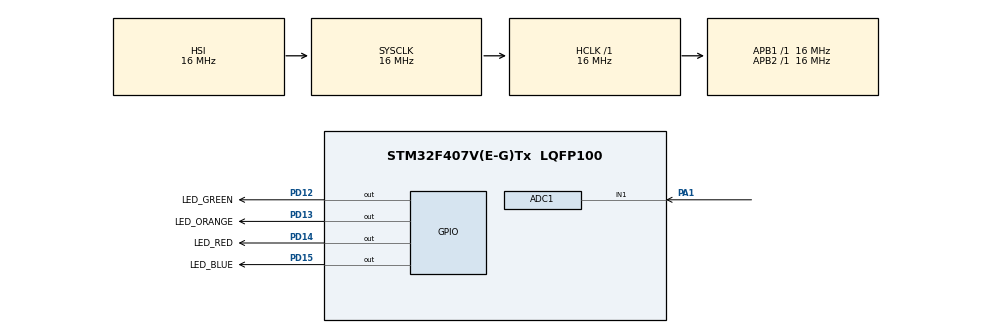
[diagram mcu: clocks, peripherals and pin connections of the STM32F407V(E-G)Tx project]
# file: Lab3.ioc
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ADC1.Channel-0\#ChannelRegularConversion=ADC_CHANNEL_TEMPSENSOR
ADC1.ClockPrescaler=ADC_CLOCK_SYNC_PCLK_DIV8
ADC1.NbrOfConversionFlag=1
ADC1.Rank-0\#ChannelRegularConversion=1
ADC1.SamplingTime-0\#ChannelRegularConversion=ADC_SAMPLETIME_480CYCLES
ADC1.master=1
Mcu.Family=STM32F4
Mcu.Name=STM32F407V(E-G)Tx
Mcu.Package=LQFP100
NVIC.ADC_IRQn=true\:0\:0\:false\:false\:true\:true\:true\:true
NVIC.PriorityGroup=NVIC_PRIORITYGROUP_4
PA1.Signal=ADCx_IN1
PD12.GPIO_Label=LED_GREEN
PD12.Signal=GPIO_Output
PD13.GPIO_Label=LED_ORANGE
PD13.Signal=GPIO_Output
PD14.GPIO_Label=LED_RED
PD14.Signal=GPIO_Output
PD15.GPIO_Label=LED_BLUE
PD15.Signal=GPIO_Output
ProjectManager.HeapSize=0x200
ProjectManager.StackSize=0x400
ProjectManager.TargetToolchain=STM32CubeIDE
RCC.AHBFreq_Value=16000000
RCC.APB1Freq_Value=16000000
RCC.APB2Freq_Value=16000000
RCC.CortexFreq_Value=16000000
RCC.HSE_VALUE=25000000
RCC.HSI_VALUE=16000000
RCC.LSE_VALUE=32768
RCC.SYSCLKFreq_VALUE=16000000
RCC.VCOOutputFreq_Value=192000000
SH.ADCx_IN1.0=ADC1_IN1,IN1
VP_ADC1_TempSens_Input.Mode=IN-TempSens
board=custom

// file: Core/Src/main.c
/* USER CODE BEGIN Header */
/**
  ******************************************************************************
  * @file           : main.c
  * @brief          : Main program body
  ******************************************************************************
  * @attention
  *
  * Copyright (c) 2023 STMicroelectronics.
  * All rights reserved.
  *
  * This software is licensed under terms that can be found in the LICENSE file
  * in the root directory of this software component.
  * If no LICENSE file comes with this software, it is provided AS-IS.
  *
  ******************************************************************************
  */
/* USER CODE END Header */
#include "main.h"

/* USER CODE BEGIN Includes */
#include <math.h>
/* USER CODE END Includes */

/* USER CODE BEGIN PD */
#define max_adc_counter_value 60
#define vcc 3.3
#define adc_bit_mode 12
/* USER CODE END PD */

ADC_HandleTypeDef hadc1;

/* USER CODE BEGIN PV */
int adc_counter = 0;
double adc_sum = 0;
uint32_t adc_avg = 0;
double adc_voltage = 0;
/* USER CODE END PV */

void SystemClock_Config(void);
static void MX_GPIO_Init(void);
static void MX_ADC1_Init(void);
/* USER CODE BEGIN PFP */

void HAL_ADC_ConvCpltCallback(ADC_HandleTypeDef* hadc)
{
	uint32_t adcValue;

	if(hadc->Instance == ADC1)
	{
		adcValue = HAL_ADC_GetValue(&hadc1);
		adc_counter++;
		adc_sum += adcValue;
		if (adc_counter==max_adc_counter_value){
			adc_avg = round(adc_sum/max_adc_counter_value);
			adc_voltage = vcc/(1<<adc_bit_mode)*adc_avg;
			adc_counter = 0;
			adc_sum = 0;
		}

		HAL_ADC_Start_IT(&hadc1);
	}
}
/* USER CODE END PFP */

int main(void)
{

  /* MCU Configuration--------------------------------------------------------*/

  /* Reset of all peripherals, Initializes the Flash interface and the Systick. */
  HAL_Init();

  /* Configure the system clock */
  SystemClock_Config();

  /* Initialize all configured peripherals */
  MX_GPIO_Init();
  MX_ADC1_Init();
  /* USER CODE BEGIN 2 */

HAL_ADC_Start_IT(&hadc1);

  /* USER CODE END 2 */

  /* Infinite loop */
  while (1)
  {

  }
}

void SystemClock_Config(void)
{
  RCC_OscInitTypeDef RCC_OscInitStruct = {0};
  RCC_ClkInitTypeDef RCC_ClkInitStruct = {0};

  /** Configure the main internal regulator output voltage
  */
  __HAL_RCC_PWR_CLK_ENABLE();
  __HAL_PWR_VOLTAGESCALING_CONFIG(PWR_REGULATOR_VOLTAGE_SCALE1);

  /** Initializes the RCC Oscillators according to the specified parameters
  * in the RCC_OscInitTypeDef structure.
  */
  RCC_OscInitStruct.OscillatorType = RCC_OSCILLATORTYPE_HSI;
  RCC_OscInitStruct.HSIState = RCC_HSI_ON;
  RCC_OscInitStruct.HSICalibrationValue = RCC_HSICALIBRATION_DEFAULT;
  RCC_OscInitStruct.PLL.PLLState = RCC_PLL_NONE;
  if (HAL_RCC_OscConfig(&RCC_OscInitStruct) != HAL_OK)
  {
    Error_Handler();
  }

  /** Initializes the CPU, AHB and APB buses clocks
  */
  RCC_ClkInitStruct.ClockType = RCC_CLOCKTYPE_HCLK|RCC_CLOCKTYPE_SYSCLK
                              |RCC_CLOCKTYPE_PCLK1|RCC_CLOCKTYPE_PCLK2;
  RCC_ClkInitStruct.SYSCLKSource = RCC_SYSCLKSOURCE_HSI;
  RCC_ClkInitStruct.AHBCLKDivider = RCC_SYSCLK_DIV1;
  RCC_ClkInitStruct.APB1CLKDivider = RCC_HCLK_DIV1;
  RCC_ClkInitStruct.APB2CLKDivider = RCC_HCLK_DIV1;

  if (HAL_RCC_ClockConfig(&RCC_ClkInitStruct, FLASH_LATENCY_0) != HAL_OK)
  {
    Error_Handler();
  }
}

static void MX_ADC1_Init(void)
{

  ADC_ChannelConfTypeDef sConfig = {0};

  /** Configure the global features of the ADC (Clock, Resolution, Data Alignment and number of conversion)
  */
  hadc1.Instance = ADC1;
  hadc1.Init.ClockPrescaler = ADC_CLOCK_SYNC_PCLK_DIV8;
  hadc1.Init.Resolution = ADC_RESOLUTION_12B;
  hadc1.Init.ScanConvMode = DISABLE;
  hadc1.Init.ContinuousConvMode = DISABLE;
  hadc1.Init.DiscontinuousConvMode = DISABLE;
  hadc1.Init.ExternalTrigConvEdge = ADC_EXTERNALTRIGCONVEDGE_NONE;
  hadc1.Init.ExternalTrigConv = ADC_SOFTWARE_START;
  hadc1.Init.DataAlign = ADC_DATAALIGN_RIGHT;
  hadc1.Init.NbrOfConversion = 1;
  hadc1.Init.DMAContinuousRequests = DISABLE;
  hadc1.Init.EOCSelection = ADC_EOC_SINGLE_CONV;
  if (HAL_ADC_Init(&hadc1) != HAL_OK)
  {
    Error_Handler();
  }

  /** Configure for the selected ADC regular channel its corresponding rank in the sequencer and its sample time.
  */
  sConfig.Channel = ADC_CHANNEL_TEMPSENSOR;
  sConfig.Rank = 1;
  sConfig.SamplingTime = ADC_SAMPLETIME_480CYCLES;
  if (HAL_ADC_ConfigChannel(&hadc1, &sConfig) != HAL_OK)
  {
    Error_Handler();
  }

}

static void MX_GPIO_Init(void)
{
  GPIO_InitTypeDef GPIO_InitStruct = {0};

  /* GPIO Ports Clock Enable */
  __HAL_RCC_GPIOA_CLK_ENABLE();
  __HAL_RCC_GPIOD_CLK_ENABLE();

  /*Configure GPIO pin Output Level */
  HAL_GPIO_WritePin(GPIOD, LED_GREEN_Pin|LED_ORANGE_Pin|LED_RED_Pin|LED_BLUE_Pin, GPIO_PIN_RESET);

  /*Configure GPIO pins : LED_GREEN_Pin LED_ORANGE_Pin LED_RED_Pin LED_BLUE_Pin */
  GPIO_InitStruct.Pin = LED_GREEN_Pin|LED_ORANGE_Pin|LED_RED_Pin|LED_BLUE_Pin;
  GPIO_InitStruct.Mode = GPIO_MODE_OUTPUT_PP;
  GPIO_InitStruct.Pull = GPIO_NOPULL;
  GPIO_InitStruct.Speed = GPIO_SPEED_FREQ_LOW;
  HAL_GPIO_Init(GPIOD, &GPIO_InitStruct);

}

void Error_Handler(void)
{
  __disable_irq();
  while (1)
  {
  }
}
